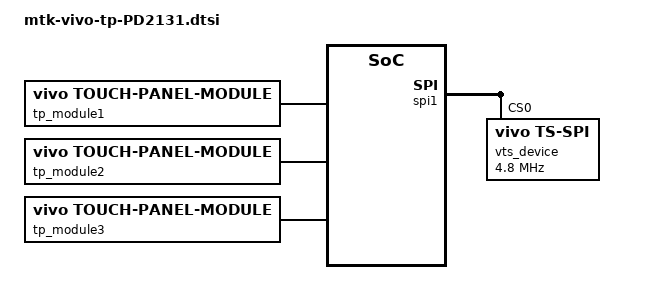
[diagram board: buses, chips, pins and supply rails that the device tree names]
/*********************touch screen config *************************/
&touchscreencfg { /* vivo ts configure */
	tp_module1 {
		compatible = "vivo,touch-panel-module";
		vts-ic-number=<81>;
		vts-type=<0>;
		vts-lcmid=<17>;// TM + NT36672  1211724 
		vts-dimention-x=<1080>;
		vts-dimention-y=<2408>;
		vts-tx-sensors=<16>;
		vts-rx-sensors=<36>;
		vts-gesture=<1>;
		vts-incell=<1>;
		vts-need-caliberation=<0>;
		vts-virtual-proximinity=<0>;
		vts-long-press=<0>;
		vts-module-vendor=<0xF0>;
		vts-no-flash=<1>;
		vts-game-mode=<1>;
		vts-game-idle-time=<10>;
		vts-delay-avee=<200>;
	};

	tp_module2 {
		compatible = "vivo,touch-panel-module";
		vts-ic-number=<36>;
		vts-type=<0>;
		vts-lcmid=<65>;// JDI + FT8719P  1211710
		vts-dimention-x=<1080>;
		vts-dimention-y=<2408>;
		vts-tx-sensors=<16>;
		vts-rx-sensors=<36>;
		vts-gesture=<1>;
		vts-incell=<1>;
		vts-need-caliberation=<0>;
		vts-virtual-proximinity=<0>;
		vts-long-press=<0>;
		vts-module-vendor=<0xF0>;
		vts-no-flash=<1>;
		vts-game-mode=<1>;
		vts-game-idle-time=<10>;
		vts-report-timestamp=<1>;
	};

	tp_module3 {
		compatible = "vivo,touch-panel-module";
		vts-ic-number=<91>;
		vts-type=<0>;
		vts-lcmid=<128>;// HX + ILI7807S  1211740
		vts-dimention-x=<1080>;
		vts-dimention-y=<2408>;
		vts-tx-sensors=<16>;
		vts-rx-sensors=<36>;
		vts-incell=<1>;
 		vts-need-caliberation=<0>;
 		vts-virtual-proximinity=<0>;
 		vts-long-press=<0>;
		vts-module-vendor=<0xF0>;
		vts-no-flash=<1>;
		vts-gesture=<1>;
		vts-game-mode=<1>;
	};
};

/ {
	fragment@touch {
		target-path = "/";
		__overlay__ {
			mobileevent {
				status = "okay";
				compatible = "vivo,mobile_event";
				vivo-i2c-event=<1>;
				//vivo-channel-broken=<1>;
				//vivo-click-event=<1>;
				//vivo-unexpected-reset-event=<1>;
				vivo-log-system=<0>;
				//vivo-prox-near=<1>;
				//vivo-ng-panel-detect=<1>;
			};
		};
	};
};

&pio {
	spi_ft_cfg:spi_ft_set {
		pins_cmd_dat {
			pinmux = <PINMUX_GPIO182__FUNC_SPI1_CLK>,
					<PINMUX_GPIO185__FUNC_SPI1_MO>;
			drive-strength = <1>;//0:2mA 1:4mA 2:6mA 3:8mA 4:10mA 5:12mA 6:14mA 7:16mA
		};
	};

	spi_nt_cfg:spi_nt_set {
		pins_cmd_dat {
			pinmux = <PINMUX_GPIO182__FUNC_SPI1_CLK>,
					<PINMUX_GPIO185__FUNC_SPI1_MO>;
			drive-strength = <4>;
		};
	};

	spi_ili_cfg:spi_ili_set {
		pins_cmd_dat {
			pinmux = <PINMUX_GPIO182__FUNC_SPI1_CLK>,
					<PINMUX_GPIO185__FUNC_SPI1_MO>;
			drive-strength = <4>;
		};
	};
	
	spi_cs_set_cfg:spi_cs_set {
		pins_cmd_dat {
			pinmux = <PINMUX_GPIO183__FUNC_SPI1_CSB>;
			drive-strength = <3>;
		};
	};

	spi_cs_pulllow_cfg:spi_cs_pulllow {
		pins_cmd_dat {
			pinmux = <PINMUX_GPIO183__FUNC_GPIO183>;
			slew-rate = <1>;
			output-low;
		};
	};

	tp_reset_active_cfg:tp_reset_active {
		pins_cmd_dat {
			pinmux = <PINMUX_GPIO15__FUNC_GPIO15>;
			slew-rate = <1>;
			output-high;
		};
	};

	tp_reset_sleep_cfg:tp_reset_sleep {
		pins_cmd_dat {
			pinmux = <PINMUX_GPIO15__FUNC_GPIO15>;
			slew-rate = <1>;
			output-low;
		};
	};
};

&spi1 {
	#address-cells = <1>;
	#size-cells = <0>;

	mediatek,kthread-rt = <1>;

	vts_device@0 {
		compatible = "vivo,ts-spi";
		status = "okay";
		reg=<0>;
		spi-max-frequency = <4800000>;

		ft8720 {
			compatible = "focaltech,ft8756_v2";
			status = "ok";
			mtk,vts-vddi-poweroff;
			mtk,vts-cs-bootup;/*add for cs pull-down while boot up*/
			pinctrl-names = "device_default", "spi_cs_set", "spi_cs_pulllow", "tp_reset_active", "tp_reset_sleep";
			pinctrl-0 = <&spi_ft_cfg>;
			pinctrl-1 = <&spi_cs_set_cfg>;
			pinctrl-2 = <&spi_cs_pulllow_cfg>;
			pinctrl-3 = <&tp_reset_active_cfg>;
			pinctrl-4 = <&tp_reset_sleep_cfg>;

			vts-type=<0>;
			vts-ic-number=<38>;
			spi-max-frequency = <8000000>;	//4800000,9600000,15000000,19200000
			focaltech,ic_name = "ft8720";
			//focaltech,vts-reset-poweroff;
			focaltech,vts-gesture-separate; //gesture firmware is separate
			focaltech,reset-gpio = <&pio 15 0x00>;
			focaltech,irq-gpio = <&pio 14 0x02>;
			//focaltech,cs-gpio = <&tlmm 3 0x00>;
			focaltech,max-touch-number = <10>;
			focaltech,display-coords = <0 0 1080 2408>;

			sensor-test-key="com.focaltouchscreen.sensortest:MainActivity:com.focaltouchscreen.sensortest:0:focal_test_result";
			lcm-noise-test-key="com.focaltech.deltadiff:MainActivity:null:null:null";
			rawdata-test-key="com.focaltech.deltadiff:DataActivity:null:null:null";
			rf-noise-test-key="com.focaltech.deltadiff:BspTestActivity:com.focaltech.deltadiff:0:testResult";
		};

		nt36672 {
			compatible = "novatek,NVT-ts-spi-v2";
			status = "ok";
			mtk,vts-vddi-poweroff;
			mtk,vts-cs-bootup;/*add for cs pull-down while boot up*/
			pinctrl-names ="device_default", "spi_cs_set", "spi_cs_pulllow";
			pinctrl-0 = <&spi_nt_cfg>;
			pinctrl-1 = <&spi_cs_set_cfg>;
			pinctrl-2 = <&spi_cs_pulllow_cfg>;

			vts-type=<0>;
			vts-ic-number=<81>;
			spi-max-frequency = <9600000>;	//4800000,9600000,15000000,19200000
			novatek,reset-gpio = <&pio 15 0x00>;
			novatek,irq-gpio = <&pio 14 0x2001>;
			novatek,cs-gpio = <&pio 183 0x00>;
			novatek,miso-gpio = <&pio 184 0x00>;
			sensor-test-key="com.nttouchscreen.mptest:MainActivity:android.intent.action.novatek:0:testResult";
			lcm-noise-test-key="com.nt36xxxtouchscreen.deltadiff:MainActivity:null:null:null";
			rawdata-test-key="com.nttouchscreen.getdata:MainActivity:null:null:null";
			rf-noise-test-key="com.nt36xxxtouchscreen.deltadiff:BspTest:android.intent.action.nvtdeltadiff:0:testResult";

			//vts-incell-panel = <&dsi_nt36675_tm_fhdplus_video &dsi_ft8756_truly_fhdplus_video &dsi_nt36672c_tm657_dsc_fhdplus_video>;
			novatek,swrst-n8-addr = <0x03F0FE>;
		};

		ft8719 {
			compatible = "focaltech,ft8719_v2";
			status = "ok";
			mtk,vts-vddi-poweroff;
			mtk,vts-cs-bootup;/*add for cs pull-down while boot up*/
			pinctrl-names = "device_default", "spi_cs_set", "spi_cs_pulllow", "tp_reset_active", "tp_reset_sleep";
			pinctrl-0 = <&spi_ft_cfg>;
			pinctrl-1 = <&spi_cs_set_cfg>;
			pinctrl-2 = <&spi_cs_pulllow_cfg>;
			pinctrl-3 = <&tp_reset_active_cfg>;
			pinctrl-4 = <&tp_reset_sleep_cfg>;
			vts-type=<0>;
			vts-ic-number=<36>;
			spi-max-frequency = <8000000>;	//4800000,9600000,15000000,19200000
			focaltech,ic_name = "ft8719";
			//focaltech,vts-reset-poweroff;
			focaltech,vts-gesture-separate; //gesture firmware is separate
			focaltech,reset-gpio = <&pio 15 0x00>;
			focaltech,irq-gpio = <&pio 14 0x02>;
			//focaltech,cs-gpio = <&tlmm 3 0x00>;
			focaltech,max-touch-number = <10>;
			focaltech,display-coords = <0 0 1080 2408>;

			sensor-test-key="com.focaltouchscreen.sensortest:MainActivity:com.focaltouchscreen.sensortest:0:focal_test_result";
			lcm-noise-test-key="com.focaltech.deltadiff:MainActivity:null:null:null";
			rawdata-test-key="com.focaltech.deltadiff:DataActivity:null:null:null";
			rf-noise-test-key="com.focaltech.deltadiff:BspTestActivity:com.focaltech.deltadiff:0:testResult";
		};

		ili_9882n {
			compatible = "tchip,ilitek";
			status = "ok";
			mtk,vts-vddi-poweroff;
			mtk,vts-cs-bootup;/*add for cs pull-down while boot up*/
			pinctrl-names ="device_default", "spi_cs_set", "spi_cs_pulllow", "tp_reset_active", "tp_reset_sleep";
			pinctrl-0 = <&spi_ili_cfg>;
			pinctrl-1 = <&spi_cs_set_cfg>;
			pinctrl-2 = <&spi_cs_pulllow_cfg>;
			pinctrl-3 = <&tp_reset_active_cfg>;
			pinctrl-4 = <&tp_reset_sleep_cfg>;
			vts-type=<0>;
			vts-ic-number=<91>;
			spi-max-frequency = <9600000>;
			touch,reset-gpio = <&pio 15 0x00>;
			touch,irq-gpio = <&pio 14 0x02>;
			//touch,cs-gpio = <&pio 183 0x00>;
			ilits,vts-reset-poweroff = <1>;

			sensor-test-key="com.ilitek.touchscreen.tptest3X:MP3XActivity:com.ilitek.touchscreen.action.tptest:0:ILITEK_TpTestResult";
			lcm-noise-test-key="com.ilitek.touchscreen.noisev2:MainActivity:null:null:null";
			rawdata-test-key="com.ilitek.touchscreen.noisev2:DataShowActivity:null:null:null";
			rf-noise-test-key="com.ilitek.touchscreen.noisev2:BspTestActivity:com.ilitek.touchscreen.action.noisetest:0:ILITEK_TpTestResult";

			//vts-incell-panel = <&dsi_pd2111_hx658_ili7807s_fhdplus_video>;
		};
	};
};

